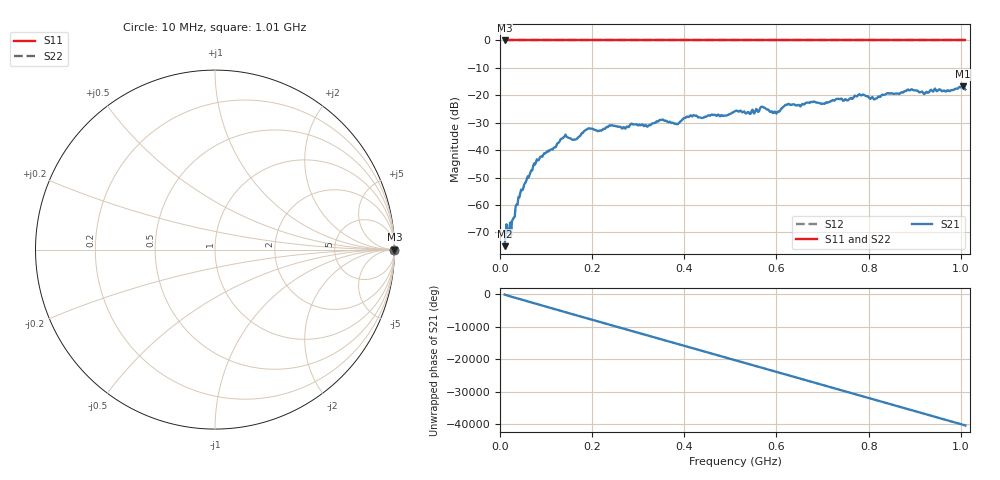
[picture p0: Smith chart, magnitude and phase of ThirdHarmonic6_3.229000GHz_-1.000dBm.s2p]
! 8/17/2025 9:52:54 AM
! C:\ANRITSUVNA\TEMP\TEMP.S2P
! CHANNEL.1
! TR.MEASUREMENT
! RAW.DATA
! RF.CORRECTION.OFF
! AVERAGING.OFF
! IF.BANDWIDTH: 5KHZ
! SWEEPTYPE:  FREQ.SWEEP(Linear)
! Reference Plane Port Info
! PORT:  PORT1  PORT2
! DISTANCE:  0  m  0  m
! TIME:  0  s  0  s
! PHASE.OFFSET:  0  deg.  0  deg.
! LOSS:  0  dB  0  dB
! REF.LOSS:  0  dB  0  dB
! REF.FREQ:  0  Hz  0  Hz
! Power Info
! POWER:  -20  dBm  -20  dBm
! EFF.POWER:  -20  dBm  -20  dBm
! SOURCE.ATTEN:  0  dB  0  dB
! TEST.ATTEN:  0  dB  0  dB
# GHZ S RI R 50.0
! FREQ.GHZ  S11RE  S11IM  S21RE  S21IM  S12RE  S12IM  S22RE  S22IM
!; PortSelection: Port_12
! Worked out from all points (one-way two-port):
!   501 points, 10 MHz to 1.01 GHz, reference 50 ohm
!   highest |S21| = -16.76 dB at 1.004 GHz (marker M1); lowest = -75.0 dB at 10 MHz (marker M2)
!   lowest |S11| = 0.0 dB at 10 MHz (marker M3)
!   |S11| at or under -10 dB: nowhere
!   |S22| runs from 0.0 to 0.0 dB; largest |S21 - S12| = 1.1
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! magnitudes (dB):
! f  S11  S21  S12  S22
! 10 MHz  0.0  -75.0  0.0  0.0
! 28 MHz  0.0  -65.1  0.0  0.0
! 44 MHz  0.0  -55.7  0.0  0.0
! 76 MHz  0.0  -45.2  0.0  0.0
! 138 MHz  0.0  -35.2  0.0  0.0
! 162 MHz  0.0  -36.1  0.0  0.0
! 178 MHz  0.0  -33.7  0.0  0.0
! 194 MHz  0.0  -32.1  0.0  0.0
! 344 MHz  0.0  -29.5  0.0  0.0
! 384 MHz  0.0  -30.5  0.0  0.0
! 410 MHz  0.0  -27.9  0.0  0.0
! 510 MHz  0.0  -25.8  0.0  0.0
! 540 MHz  0.0  -26.2  0.0  0.0
! 570 MHz  0.0  -24.2  0.0  0.0
! 596 MHz  0.0  -25.9  0.0  0.0
! 624 MHz  0.0  -23.3  0.0  0.0
! 678 MHz  0.0  -22.5  0.0  0.0
! 784 MHz  0.0  -20.0  0.0  0.0
! 814 MHz  0.0  -21.3  0.0  0.0
! 844 MHz  0.0  -19.3  0.0  0.0
! 1.004 GHz  0.0  -16.8  0.0  0.0
! 1.01 GHz  0.0  -17.9  0.0  0.0
